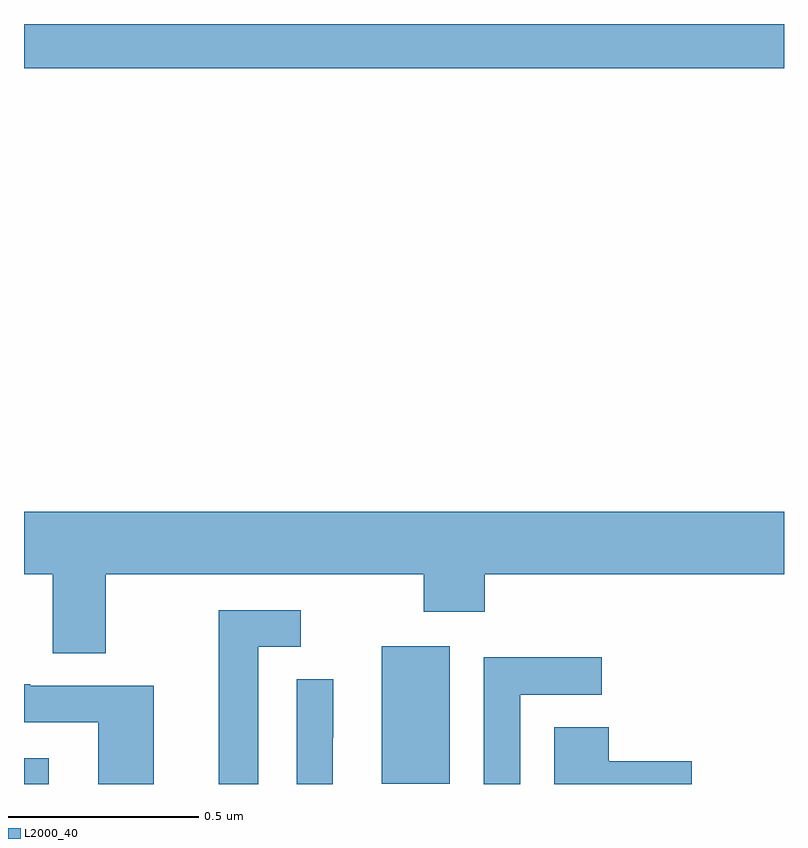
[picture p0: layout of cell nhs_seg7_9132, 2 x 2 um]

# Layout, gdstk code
import gdstk
lib = gdstk.Library(unit=1e-6, precision=1e-09)
def R(c, l, rs):  # rectangles x0, y0, x1, y1
    for r in rs: c.add(gdstk.rectangle(r[:2], r[2:], *l))
def P(c, l, *ps):  # polygons
    for p in ps: c.add(gdstk.Polygon(p, *l))
L2000_40 = (2000, 40)

nhs_seg7_9132 = lib.new_cell('nhs_seg7_9132')
R(nhs_seg7_9132, L2000_40, [(233,1064,233.065,1064.068), (233.942,1064.001,234.121,1064.362), (233,1065.884,235,1066)])
P(nhs_seg7_9132, L2000_40, [(233.215,1064.552),(234.052,1064.552),(234.052,1064.453),(234.212,1064.453),(234.212,1064.552),(235,1064.552),(235,1064.716),(233,1064.716),(233,1064.552),(233.075,1064.552),(233.075,1064.344),(233.215,1064.344)],
  [(233.617,1064.361),(233.728,1064.361),(233.728,1064.457),(233.513,1064.457),(233.513,1064),(233.617,1064)],
  [(234.306,1064.235),(234.52,1064.235),(234.52,1064.334),(234.21,1064.334),(234.21,1064),(234.306,1064)],
  [(233.813,1064.122),(233.814,1064.122),(233.814,1064.276),(233.718,1064.276),(233.718,1064),(233.813,1064)],
  [(233.341,1064.259),(233.017,1064.259),(233.017,1064.263),(233,1064.263),(233,1064.163),(233.196,1064.163),(233.196,1064),(233.341,1064)],
  [(234.757,1064.06),(234.539,1064.06),(234.539,1064.15),(234.395,1064.15),(234.395,1064),(234.757,1064)])

lib.write_gds('nhs_seg7_9132.gds')
